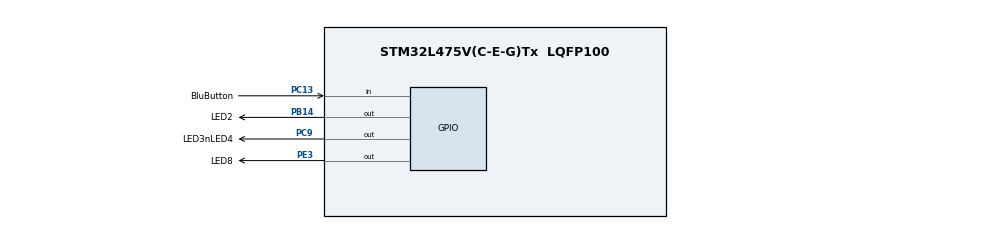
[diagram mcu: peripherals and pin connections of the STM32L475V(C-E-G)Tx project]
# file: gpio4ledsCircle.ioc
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Mcu.Family=STM32L4
Mcu.Name=STM32L475V(C-E-G)Tx
Mcu.Package=LQFP100
NVIC.PriorityGroup=NVIC_PRIORITYGROUP_4
PB14.GPIO_Label=LED2
PB14.Signal=GPIO_Output
PC13.GPIO_Label=BluButton
PC13.Signal=GPIO_Input
PC9.GPIO_Label=LED3nLED4
PC9.Signal=GPIO_Output
PE3.GPIO_Label=LED8
PE3.Signal=GPIO_Output
ProjectManager.HeapSize=0x200
ProjectManager.StackSize=0x400
ProjectManager.TargetToolchain=TrueSTUDIO
RCC.HSE_VALUE=8000000
RCC.HSI_VALUE=16000000
RCC.LSE_VALUE=32768
RCC.MSI_VALUE=4000000
RCC.VCOOutputFreq_Value=32000000
board=custom

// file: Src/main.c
/* USER CODE BEGIN Header */
/**
  ******************************************************************************
  * @file           : main.c
  * @brief          : Blinking 4 LEDs clock and counterclockwise
  * MIGUEL A HERNANDEZ TAPIA
  * Sep 10, 2019
  ******************************************************************************
  * @attention
  *
  * <h2><center>&copy; Copyright (c) 2019 STMicroelectronics.
  * All rights reserved.</center></h2>
  *
  * This software component is licensed by ST under BSD 3-Clause license,
  * the "License"; You may not use this file except in compliance with the
  * License. You may obtain a copy of the License at:
  *                        opensource.org/licenses/BSD-3-Clause
  *
  ******************************************************************************
  */
/* USER CODE END Header */

#include "main.h"

void SystemClock_Config(void);
static void MX_GPIO_Init(void);

int main(void)
{

  /* MCU Configuration--------------------------------------------------------*/

  /* Reset of all peripherals, Initializes the Flash interface and the Systick. */
  HAL_Init();

  /* Configure the system clock */
  SystemClock_Config();

  /* Initialize all configured peripherals */
  MX_GPIO_Init();

  /* USER VARIABLE DECLARATION AND INITIALIZATION:*/
  int blinkRate = 250;
  char state = 0;

  /* Infinite loop */
  /* USER CODE BEGIN WHILE */
  /*
  LEDs Active State:
  LED2 - H
  LED4 - L
  LED3 - H
  LED8 - L
  */

  GPIO_InitTypeDef GPIO_InitStruct = {0};

  while (1)
  {
	  if(HAL_GPIO_ReadPin(BluButton_GPIO_Port, BluButton_Pin) != 0)
	  {
		  state++;
		  if(state > 4) {state = 1;}
	  }
	  else
	  {
		  state--;
		  if(state < 1) {state = 4;}
	  }

	  switch (state)
		{
	  	  	  case 1:
	  	  		  HAL_GPIO_WritePin(LED8_GPIO_Port, LED8_Pin, GPIO_PIN_SET);			//Turn off nLED8
				  GPIO_InitStruct.Pin = LED3nLED4_Pin;									//Set nLED4 as output
				  GPIO_InitStruct.Mode = GPIO_MODE_OUTPUT_PP;
				  GPIO_InitStruct.Pull = GPIO_NOPULL;
				  GPIO_InitStruct.Speed = GPIO_SPEED_FREQ_LOW;
				  	  HAL_GPIO_Init(LED3nLED4_GPIO_Port, &GPIO_InitStruct);
				  HAL_GPIO_WritePin(LED3nLED4_GPIO_Port, LED3nLED4_Pin, GPIO_PIN_SET);	//Turn off nLED4
				  GPIO_InitStruct.Pin = LED3nLED4_Pin;									//Deactivate LED3nLED4
				  GPIO_InitStruct.Mode = GPIO_MODE_INPUT;								//pin making it an input
				  	  HAL_GPIO_Init(LED3nLED4_GPIO_Port, &GPIO_InitStruct);
				  HAL_GPIO_WritePin(LED2_GPIO_Port, LED2_Pin, GPIO_PIN_SET);			//Turn ON LED2
				  HAL_Delay(blinkRate);
			  break;

	  	  	  case 2:
	  	  		  HAL_GPIO_WritePin(LED2_GPIO_Port, LED2_Pin, GPIO_PIN_RESET);			//Turn off LED2
				  GPIO_InitStruct.Pin = LED3nLED4_Pin;									//Deactivate LED3nLED4
				  GPIO_InitStruct.Mode = GPIO_MODE_INPUT;
					  HAL_GPIO_Init(LED3nLED4_GPIO_Port, &GPIO_InitStruct);
				  HAL_GPIO_WritePin(LED8_GPIO_Port, LED8_Pin, GPIO_PIN_SET);			//Turn off LED8
				  GPIO_InitStruct.Pin = LED3nLED4_Pin;									//Set nLED4 as output
				  GPIO_InitStruct.Mode = GPIO_MODE_OUTPUT_PP;
				  GPIO_InitStruct.Pull = GPIO_NOPULL;
				  GPIO_InitStruct.Speed = GPIO_SPEED_FREQ_LOW;
				  	  HAL_GPIO_Init(LED3nLED4_GPIO_Port, &GPIO_InitStruct);
				  HAL_GPIO_WritePin(LED3nLED4_GPIO_Port, LED3nLED4_Pin, GPIO_PIN_RESET);//Turn ON nLED4
				  HAL_Delay(blinkRate);
			  break;

	  	  	  case 3:
	  	  		  HAL_GPIO_WritePin(LED2_GPIO_Port, LED2_Pin, GPIO_PIN_RESET);			//Turn off LED2
				  GPIO_InitStruct.Pin = LED3nLED4_Pin;									//Deactivate LED3nLED4
				  GPIO_InitStruct.Mode = GPIO_MODE_INPUT;
				  	  HAL_GPIO_Init(LED3nLED4_GPIO_Port, &GPIO_InitStruct);
				  HAL_GPIO_WritePin(LED8_GPIO_Port, LED8_Pin, GPIO_PIN_SET);			//Turn off LED8
				  GPIO_InitStruct.Pin = LED3nLED4_Pin;									//Set LED3 as output
				  GPIO_InitStruct.Mode = GPIO_MODE_OUTPUT_PP;
				  GPIO_InitStruct.Pull = GPIO_NOPULL;
				  GPIO_InitStruct.Speed = GPIO_SPEED_FREQ_LOW;
					  HAL_GPIO_Init(LED3nLED4_GPIO_Port, &GPIO_InitStruct);
				  HAL_GPIO_WritePin(LED3nLED4_GPIO_Port, LED3nLED4_Pin, GPIO_PIN_SET);	//Turn ON LED3
				  HAL_Delay(blinkRate);
			  break;

	  	  	  case 4:
	  	  		  HAL_GPIO_WritePin(LED2_GPIO_Port, LED2_Pin, GPIO_PIN_RESET);			//Turn off LED2
					  //GPIO_InitTypeDef GPIO_InitStruct = {0};
						  GPIO_InitStruct.Pin = LED3nLED4_Pin;							//Set LED3 as output
						  GPIO_InitStruct.Mode = GPIO_MODE_OUTPUT_PP;
						  GPIO_InitStruct.Pull = GPIO_NOPULL;
						  GPIO_InitStruct.Speed = GPIO_SPEED_FREQ_LOW;
						  HAL_GPIO_Init(LED3nLED4_GPIO_Port, &GPIO_InitStruct);
				  HAL_GPIO_WritePin(LED3nLED4_GPIO_Port, LED3nLED4_Pin, GPIO_PIN_RESET);//Turn off LED3
						  GPIO_InitStruct.Pin = LED3nLED4_Pin;							//Deactivate LED3nLED4
						  GPIO_InitStruct.Mode = GPIO_MODE_INPUT;
						  HAL_GPIO_Init(LED3nLED4_GPIO_Port, &GPIO_InitStruct);
				  HAL_GPIO_WritePin(LED8_GPIO_Port, LED8_Pin, GPIO_PIN_RESET);			//Turn ON nLED8
				  HAL_Delay(blinkRate);
			  break;

	  	  	  default:
	  	  		  HAL_GPIO_WritePin(LED2_GPIO_Port, LED2_Pin, GPIO_PIN_RESET);			//Turn off LED2
					  //GPIO_InitTypeDef GPIO_InitStruct = {0};
						  GPIO_InitStruct.Pin = LED3nLED4_Pin;							//Set LED3 as output
						  GPIO_InitStruct.Mode = GPIO_MODE_OUTPUT_PP;
						  GPIO_InitStruct.Pull = GPIO_NOPULL;
						  GPIO_InitStruct.Speed = GPIO_SPEED_FREQ_LOW;
						  HAL_GPIO_Init(LED3nLED4_GPIO_Port, &GPIO_InitStruct);
				  HAL_GPIO_WritePin(LED3nLED4_GPIO_Port, LED3nLED4_Pin, GPIO_PIN_SET);	//Turn off nLED4
						  GPIO_InitStruct.Pin = LED3nLED4_Pin;							//Deactivate LED3nLED4
						  GPIO_InitStruct.Mode = GPIO_MODE_INPUT;
						  HAL_GPIO_Init(LED3nLED4_GPIO_Port, &GPIO_InitStruct);
				  HAL_GPIO_WritePin(LED8_GPIO_Port, LED8_Pin, GPIO_PIN_SET);			//Turn off nLED8
			  break;
		}

	  /* Working well clockwise:
	  HAL_GPIO_WritePin(LED2_GPIO_Port, LED2_Pin, GPIO_PIN_SET);
	  HAL_Delay(blinkRate);
	  HAL_GPIO_WritePin(LED2_GPIO_Port, LED2_Pin, GPIO_PIN_RESET);
	  	  GPIO_InitTypeDef GPIO_InitStruct = {0};
	  	  	  GPIO_InitStruct.Pin = LED3nLED4_Pin;
	  		  GPIO_InitStruct.Mode = GPIO_MODE_OUTPUT_PP;
	  		  GPIO_InitStruct.Pull = GPIO_NOPULL;
	  		  GPIO_InitStruct.Speed = GPIO_SPEED_FREQ_LOW;
	  		  HAL_GPIO_Init(LED3nLED4_GPIO_Port, &GPIO_InitStruct);
	  HAL_GPIO_WritePin(LED3nLED4_GPIO_Port, LED3nLED4_Pin, GPIO_PIN_RESET);
	  HAL_Delay(blinkRate);
	  HAL_GPIO_WritePin(LED3nLED4_GPIO_Port, LED3nLED4_Pin, GPIO_PIN_SET);
	  HAL_Delay(blinkRate);
			  GPIO_InitStruct.Pin = LED3nLED4_Pin;
			  GPIO_InitStruct.Mode = GPIO_MODE_INPUT;
			  HAL_GPIO_Init(LED3nLED4_GPIO_Port, &GPIO_InitStruct);
	  HAL_GPIO_WritePin(LED8_GPIO_Port, LED8_Pin, GPIO_PIN_RESET);
	  HAL_Delay(blinkRate);
	  HAL_GPIO_WritePin(LED8_GPIO_Port, LED8_Pin, GPIO_PIN_SET);
	  */

    /* USER CODE END WHILE */

  }
}

void SystemClock_Config(void)
{
  RCC_OscInitTypeDef RCC_OscInitStruct = {0};
  RCC_ClkInitTypeDef RCC_ClkInitStruct = {0};

  /** Initializes the CPU, AHB and APB busses clocks
  */
  RCC_OscInitStruct.OscillatorType = RCC_OSCILLATORTYPE_MSI;
  RCC_OscInitStruct.MSIState = RCC_MSI_ON;
  RCC_OscInitStruct.MSICalibrationValue = 0;
  RCC_OscInitStruct.MSIClockRange = RCC_MSIRANGE_6;
  RCC_OscInitStruct.PLL.PLLState = RCC_PLL_NONE;
  if (HAL_RCC_OscConfig(&RCC_OscInitStruct) != HAL_OK)
  {
    Error_Handler();
  }
  /** Initializes the CPU, AHB and APB busses clocks
  */
  RCC_ClkInitStruct.ClockType = RCC_CLOCKTYPE_HCLK|RCC_CLOCKTYPE_SYSCLK
                              |RCC_CLOCKTYPE_PCLK1|RCC_CLOCKTYPE_PCLK2;
  RCC_ClkInitStruct.SYSCLKSource = RCC_SYSCLKSOURCE_MSI;
  RCC_ClkInitStruct.AHBCLKDivider = RCC_SYSCLK_DIV1;
  RCC_ClkInitStruct.APB1CLKDivider = RCC_HCLK_DIV1;
  RCC_ClkInitStruct.APB2CLKDivider = RCC_HCLK_DIV1;

  if (HAL_RCC_ClockConfig(&RCC_ClkInitStruct, FLASH_LATENCY_0) != HAL_OK)
  {
    Error_Handler();
  }
  /** Configure the main internal regulator output voltage
  */
  if (HAL_PWREx_ControlVoltageScaling(PWR_REGULATOR_VOLTAGE_SCALE1) != HAL_OK)
  {
    Error_Handler();
  }
}

static void MX_GPIO_Init(void)
{
  GPIO_InitTypeDef GPIO_InitStruct = {0};

  /* GPIO Ports Clock Enable */
  __HAL_RCC_GPIOE_CLK_ENABLE();
  __HAL_RCC_GPIOC_CLK_ENABLE();
  __HAL_RCC_GPIOB_CLK_ENABLE();

  /*Configure GPIO pin Output Level */
  HAL_GPIO_WritePin(LED8_GPIO_Port, LED8_Pin, GPIO_PIN_RESET);

  /*Configure GPIO pin Output Level */
  HAL_GPIO_WritePin(LED2_GPIO_Port, LED2_Pin, GPIO_PIN_RESET);

  /*Configure GPIO pin Output Level */
  HAL_GPIO_WritePin(LED3nLED4_GPIO_Port, LED3nLED4_Pin, GPIO_PIN_RESET);

  /*Configure GPIO pin : LED8_Pin */
  GPIO_InitStruct.Pin = LED8_Pin;
  GPIO_InitStruct.Mode = GPIO_MODE_OUTPUT_PP;
  GPIO_InitStruct.Pull = GPIO_NOPULL;
  GPIO_InitStruct.Speed = GPIO_SPEED_FREQ_LOW;
  HAL_GPIO_Init(LED8_GPIO_Port, &GPIO_InitStruct);

  /*Configure GPIO pin : BluButton_Pin */
  GPIO_InitStruct.Pin = BluButton_Pin;
  GPIO_InitStruct.Mode = GPIO_MODE_INPUT;
  GPIO_InitStruct.Pull = GPIO_NOPULL;
  HAL_GPIO_Init(BluButton_GPIO_Port, &GPIO_InitStruct);

  /*Configure GPIO pin : LED2_Pin */
  GPIO_InitStruct.Pin = LED2_Pin;
  GPIO_InitStruct.Mode = GPIO_MODE_OUTPUT_PP;
  GPIO_InitStruct.Pull = GPIO_NOPULL;
  GPIO_InitStruct.Speed = GPIO_SPEED_FREQ_LOW;
  HAL_GPIO_Init(LED2_GPIO_Port, &GPIO_InitStruct);

  /*Configure GPIO pin : LED3nLED4_Pin */
  GPIO_InitStruct.Pin = LED3nLED4_Pin;
  GPIO_InitStruct.Mode = GPIO_MODE_OUTPUT_PP;
  GPIO_InitStruct.Pull = GPIO_NOPULL;
  GPIO_InitStruct.Speed = GPIO_SPEED_FREQ_LOW;
  HAL_GPIO_Init(LED3nLED4_GPIO_Port, &GPIO_InitStruct);

}

void Error_Handler(void)
{
}

/************************ (C) COPYRIGHT STMicroelectronics *****END OF FILE****/
